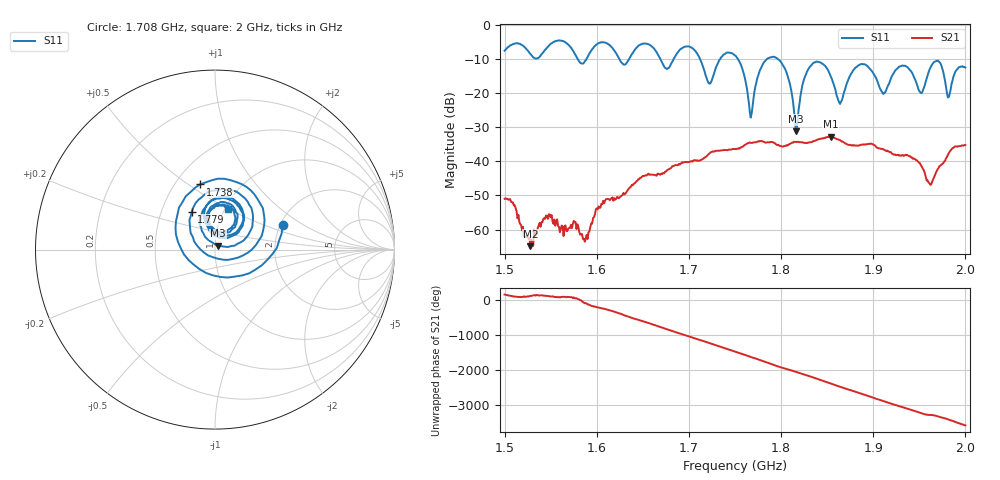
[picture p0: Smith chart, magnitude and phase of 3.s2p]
! NanoVNA-App by SYSJOINT et al v1.1.209 (+OD18)
! Date: 2026-01-21 14:28:32
! Start: 1,5GHz Stop: 2GHz Points: 501
! S-Parameter data: F S11 S21 S12 S22
# Hz S RI R 50
!  Frequency  S11_Real  S11_Imag  S21_Real  S21_Imag  S12_Real  S12_Imag  S22_Real  S22_Imag
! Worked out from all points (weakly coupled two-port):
!   501 points, 1.5 GHz to 2 GHz, reference 50 ohm
!   highest |S21| = -32.76 dB at 1.854 GHz (marker M1); lowest = -64.9 dB at 1.528 GHz (marker M2)
!   lowest |S11| = -31.2 dB at 1.816 GHz (marker M3), VSWR 1.06, Z = 51.7 + j2.26 ohm
!   |S11| at or under -10 dB: 1.712 GHz to 1.734 GHz (21.55 MHz wide, 1.25 % of centre); 1.753 GHz to 1.784 GHz (31.06 MHz wide, 1.76 % of centre); 1.797 GHz to end of sweep (the widest 3 of 6)
!   S12 and S22 are empty: the file has one direction only
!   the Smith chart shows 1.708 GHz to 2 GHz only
!   S11 on the Smith chart (normalised r, x): 1.708 GHz: 2.06, +0.67; 1.738 GHz: 0.66, +0.56; 1.779 GHz: 0.71, +0.32; 2 GHz: 1.04, +0.50
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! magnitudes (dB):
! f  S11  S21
! 1.5 GHz  -7.5  -51.0
! 1.528 GHz  -8.4  -64.9
! 1.547 GHz  -6.3  -56.9
! 1.584 GHz  -11.2  -61.4
! 1.667 GHz  -8.9  -43.6
! 1.708 GHz  -7.9  -39.8
! 1.722 GHz  -17.1  -37.7
! 1.738 GHz  -8.6  -36.7
! 1.75 GHz  -8.9  -36.3
! 1.767 GHz  -27.1  -34.5
! 1.779 GHz  -12.1  -34.0
! 1.802 GHz  -11.8  -35.7
! 1.816 GHz  -31.2  -34.3
! 1.834 GHz  -11.4  -34.2
! 1.854 GHz  -15.0  -32.8
! 1.864 GHz  -23.1  -33.7
! 1.886 GHz  -11.5  -35.2
! 1.917 GHz  -17.3  -37.1
! 1.952 GHz  -20.0  -41.3
! 1.962 GHz  -12.5  -46.9
! 1.982 GHz  -21.1  -37.6
! 2 GHz  -12.4  -35.2
